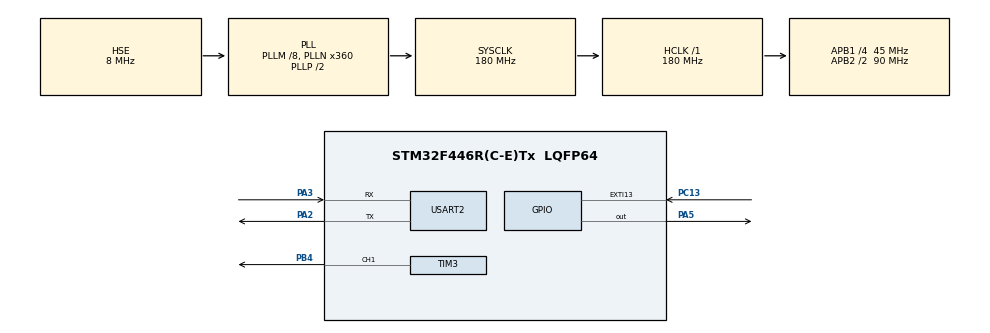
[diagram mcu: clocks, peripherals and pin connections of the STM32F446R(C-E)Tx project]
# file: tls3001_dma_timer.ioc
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Dma.Request0=TIM3_CH1/TRIG
Dma.TIM3_CH1/TRIG.0.Direction=DMA_MEMORY_TO_PERIPH
Dma.TIM3_CH1/TRIG.0.FIFOMode=DMA_FIFOMODE_DISABLE
Dma.TIM3_CH1/TRIG.0.Instance=DMA1_Stream4
Dma.TIM3_CH1/TRIG.0.MemDataAlignment=DMA_MDATAALIGN_WORD
Dma.TIM3_CH1/TRIG.0.MemInc=DMA_MINC_ENABLE
Dma.TIM3_CH1/TRIG.0.Mode=DMA_NORMAL
Dma.TIM3_CH1/TRIG.0.PeriphDataAlignment=DMA_PDATAALIGN_WORD
Dma.TIM3_CH1/TRIG.0.PeriphInc=DMA_PINC_DISABLE
Dma.TIM3_CH1/TRIG.0.Priority=DMA_PRIORITY_HIGH
Mcu.Family=STM32F4
Mcu.Name=STM32F446R(C-E)Tx
Mcu.Package=LQFP64
NVIC.DMA1_Stream4_IRQn=true\:0\:0\:false\:false\:true\:false\:true
NVIC.PriorityGroup=NVIC_PRIORITYGROUP_0
NVIC.TIM3_IRQn=true\:0\:0\:true\:false\:true\:true\:true
PA13.Mode=Serial_Wire
PA13.Signal=SYS_JTMS-SWDIO
PA14.Mode=Serial_Wire
PA14.Signal=SYS_JTCK-SWCLK
PA2.GPIO_Mode=GPIO_MODE_AF_PP
PA2.GPIO_PuPd=GPIO_PULLUP
PA2.GPIO_Speed=GPIO_SPEED_FREQ_VERY_HIGH
PA2.Mode=Asynchronous
PA2.Signal=USART2_TX
PA3.GPIO_Mode=GPIO_MODE_AF_PP
PA3.GPIO_PuPd=GPIO_PULLUP
PA3.GPIO_Speed=GPIO_SPEED_FREQ_VERY_HIGH
PA3.Mode=Asynchronous
PA3.Signal=USART2_RX
PA5.GPIO_ModeDefaultOutputPP=GPIO_MODE_OUTPUT_PP
PA5.GPIO_PuPd=GPIO_NOPULL
PA5.GPIO_Speed=GPIO_SPEED_FREQ_LOW
PA5.PinState=GPIO_PIN_RESET
PA5.Signal=GPIO_Output
PB3.Signal=SYS_JTDO-SWO
PB4.GPIO_PuPd=GPIO_PULLDOWN
PB4.GPIO_Speed=GPIO_SPEED_FREQ_HIGH
PB4.Signal=S_TIM3_CH1
PC13.GPIO_ModeDefaultEXTI=GPIO_MODE_IT_RISING
PC13.GPIO_PuPd=GPIO_NOPULL
PC13.Signal=GPXTI13
PC14-OSC32_IN.Mode=LSE-External-Oscillator
PC14-OSC32_IN.Signal=RCC_OSC32_IN
PC15-OSC32_OUT.Mode=LSE-External-Oscillator
PC15-OSC32_OUT.Signal=RCC_OSC32_OUT
PH0-OSC_IN.Mode=HSE-External-Oscillator
PH0-OSC_IN.Signal=RCC_OSC_IN
PH1-OSC_OUT.Mode=HSE-External-Oscillator
PH1-OSC_OUT.Signal=RCC_OSC_OUT
ProjectManager.HeapSize=0x200
ProjectManager.StackSize=0x400
ProjectManager.TargetToolchain=STM32CubeIDE
RCC.48MHZClocksFreq_Value=84000000
RCC.AHBFreq_Value=180000000
RCC.APB1CLKDivider=RCC_HCLK_DIV4
RCC.APB1Freq_Value=45000000
RCC.APB1TimFreq_Value=90000000
RCC.APB2CLKDivider=RCC_HCLK_DIV2
RCC.APB2Freq_Value=90000000
RCC.APB2TimFreq_Value=180000000
RCC.CortexFreq_Value=180000000
RCC.FLatency-AdvancedSettings=FLASH_LATENCY_5
RCC.HCLKFreq_Value=180000000
RCC.HSE_VALUE=8000000
RCC.HSI_VALUE=16000000
RCC.PLLM=8
RCC.PLLN=360
RCC.PLLSourceVirtual=RCC_PLLSOURCE_HSE
RCC.RCC_TIM_PRescaler_Selection=RCC_TIMPRES_DESACTIVATED
RCC.SYSCLKFreq_VALUE=180000000
RCC.SYSCLKSource=RCC_SYSCLKSOURCE_PLLCLK
RCC.USBFreq_Value=180000000
RCC.VCOOutputFreq_Value=360000000
SH.S_TIM3_CH1.0=TIM3_CH1,PWM Generation1 CH1
TIM3.AutoReloadPreload=TIM_AUTORELOAD_PRELOAD_DISABLE
TIM3.Channel-PWM\ Generation1\ CH1=TIM_CHANNEL_1
TIM3.OCFastMode_PWM-PWM\ Generation1\ CH1=TIM_OCFAST_ENABLE
TIM3.OCPolarity_1=TIM_OCPOLARITY_HIGH
TIM3.Period=179
TIM3.Prescaler=0
TIM3.Pulse-PWM\ Generation1\ CH1=89
USART2.VirtualMode=VM_ASYNC
board=NUCLEO-F446RE

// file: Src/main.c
/* USER CODE BEGIN Header */
/**
  ******************************************************************************
  * @file           : main.c
  * @brief          : Main program body
  ******************************************************************************
  * @attention
  *
  * <h2><center>&copy; Copyright (c) 2019 STMicroelectronics.
  * All rights reserved.</center></h2>
  *
  * This software component is licensed by ST under BSD 3-Clause license,
  * the "License"; You may not use this file except in compliance with the
  * License. You may obtain a copy of the License at:
  *                        opensource.org/licenses/BSD-3-Clause
  *
  ******************************************************************************
  */
/* USER CODE END Header */

#include "main.h"
#include "dma.h"
#include "tim.h"
#include "usart.h"
#include "gpio.h"

/* USER CODE BEGIN Includes */
#include "stdlib.h"
#include "TLS3001.h"
#include "stdbool.h"
/* USER CODE END Includes */

/* USER CODE BEGIN PV */
uint32_t uwTimerPeriod;
uint32_t aCCValue;

uint32_t *OCxM_DMA_buffer;
volatile bool TLS3001_PWM_transfer_finish = false;

#define TLS3001_RESET_LEN 19
#define TLS3001_SYNC_LEN 30
#define TLS3001_START_LEN 19

const uint16_t TLS3001_RESET [TLS3001_RESET_LEN] = {1,1,1,1,1,1,1,1,1,1,1,1,1,1,1,0,1,0,0};						// RESET = 1,1,1,1, 1,1,1,1, 1,1,1,1, 1,1,1,0,  1,0,0
const uint16_t TLS3001_SYNC [TLS3001_SYNC_LEN] = {1,1,1,1,1,1,1,1, 1,1,1,1,1,1,1,0,0,0,1,0,0,0,0,0,0,0,0,0,0,0};	// SYNC_ = 1,1,1,1, 1,1,1,1, 1,1,1,1, 1,1,1,0,  0,0,1,0, 0,0,0,0, 0,0,0,0, 0,0
const uint16_t TLS3001_START [TLS3001_START_LEN] = {1,1,1,1,1,1,1,1,1,1,1,1,1,1,1,0,0,1,0};						// START = 1,1,1,1, 1,1,1,1, 1,1,1,1, 1,1,1,0, 0,1,0

/* USER CODE END PV */

void SystemClock_Config(void);
/* USER CODE BEGIN PFP */

void user_init_DMA_buffer(uint32_t **DMA_buffer, uint16_t *data_in_buffer, uint32_t data_len);
void user_deinit_DMA_buffer(uint32_t *DMA_buffer);
void user_PWM_start(TIM_HandleTypeDef *htim, uint32_t Channel);
void TLS3001_send_packet(uint32_t SrcAddress, uint32_t DstAddress, uint32_t DataLength);

/* USER CODE END PFP */

int main(void)
{
  /* USER CODE BEGIN 1 */
	const uint32_t data_in_len = 10;
	uint16_t data_in_buffer [10] = {1, 1, 0, 0, 1, 1, 1, 0, 0, 0};
  /* USER CODE END 1 */

  /* MCU Configuration--------------------------------------------------------*/

  /* Reset of all peripherals, Initializes the Flash interface and the Systick. */
  HAL_Init();

  /* Configure the system clock */
  SystemClock_Config();

  /* USER CODE BEGIN SysInit */

  uint32_t PCLK1_freq=HAL_RCC_GetPCLK1Freq();
  uwTimerPeriod = (uint32_t)(((PCLK1_freq*2) / TLS3001_CLK) - 1);
  /* Compute CCR2 value to generate a duty cycle at 50% */
  aCCValue = (uint32_t)(((uint32_t) 50 * (uwTimerPeriod - 1)) / 100);
  /* USER CODE END SysInit */

  /* Initialize all configured peripherals */
  MX_GPIO_Init();
  MX_DMA_Init();
  MX_USART2_UART_Init();
  MX_TIM3_Init();
  /* USER CODE BEGIN 2 */

  // Send reset
  user_init_DMA_buffer(&OCxM_DMA_buffer, &data_in_buffer[0], data_in_len);
  TLS3001_send_packet(OCxM_DMA_buffer, &htim3.Instance->CCMR1, data_in_len);

  while(TLS3001_PWM_transfer_finish == false){
  }

  HAL_Delay(1);	//1ms delay.

  // Send Synch
  user_init_DMA_buffer(&OCxM_DMA_buffer, &TLS3001_SYNC[0], TLS3001_SYNC_LEN);
  TLS3001_send_packet(OCxM_DMA_buffer, &htim3.Instance->CCMR1, TLS3001_SYNC_LEN);

  while(TLS3001_PWM_transfer_finish == false){
  }

  HAL_Delay(50);	//50ms delay.

  /*
  // Enable the DMA stream
  if (HAL_DMA_Start_IT(&hdma_tim3_ch1_trig, OCxM_DMA_buffer, &htim3.Instance->CCMR1, data_in_len) != HAL_OK)
  {
	 return HAL_ERROR;
  }
  // Enable the TIM3 Update event DMA request
  __HAL_TIM_ENABLE_DMA(&htim3, TIM_DMA_CC1);
  HAL_TIM_GenerateEvent(&htim3, TIM_EGR_CC1G);

  HAL_Delay(10);

  HAL_GPIO_TogglePin(GPIOA, GPIO_PIN_5);
  user_PWM_start(&htim3, TIM_CHANNEL_1);
*/
  /* USER CODE END 2 */

  /* Infinite loop */
  /* USER CODE BEGIN WHILE */
  while (1)
  {
	  /*
	  if((htim3.Instance->CR1 & TIM_CR1_CEN) == 0)
	  {
		  user_PWM_start(&htim3, TIM_CHANNEL_1);
	  }

	  if(TLS3001_PWM_transfer_finish == true)
	  {

		  HAL_TIM_PWM_Stop(&htim3, TIM_CHANNEL_1);	//This is not good since we stop the PWM (disabling the output) too soon.
		  HAL_GPIO_WritePin(GPIOB, GPIO_PIN_4, GPIO_PIN_RESET);
		//uint16_t temp = (~TIM_CCMR1_OC1M_Msk | TIM_OCMODE_FORCED_INACTIVE);
		//TIM3->CCMR1 &= temp;
		  TLS3001_PWM_transfer_finish = false;
	  }
	  */

	  HAL_Delay(10);

    /* USER CODE END WHILE */

  }
}

void SystemClock_Config(void)
{
  RCC_OscInitTypeDef RCC_OscInitStruct = {0};
  RCC_ClkInitTypeDef RCC_ClkInitStruct = {0};

  /** Configure the main internal regulator output voltage
  */
  __HAL_RCC_PWR_CLK_ENABLE();
  __HAL_PWR_VOLTAGESCALING_CONFIG(PWR_REGULATOR_VOLTAGE_SCALE1);
  /** Initializes the CPU, AHB and APB busses clocks
  */
  RCC_OscInitStruct.OscillatorType = RCC_OSCILLATORTYPE_HSE;
  RCC_OscInitStruct.HSEState = RCC_HSE_ON;
  RCC_OscInitStruct.PLL.PLLState = RCC_PLL_ON;
  RCC_OscInitStruct.PLL.PLLSource = RCC_PLLSOURCE_HSE;
  RCC_OscInitStruct.PLL.PLLM = 8;
  RCC_OscInitStruct.PLL.PLLN = 360;
  RCC_OscInitStruct.PLL.PLLP = RCC_PLLP_DIV2;
  RCC_OscInitStruct.PLL.PLLQ = 2;
  RCC_OscInitStruct.PLL.PLLR = 2;
  if (HAL_RCC_OscConfig(&RCC_OscInitStruct) != HAL_OK)
  {
    Error_Handler();
  }
  /** Activate the Over-Drive mode
  */
  if (HAL_PWREx_EnableOverDrive() != HAL_OK)
  {
    Error_Handler();
  }
  /** Initializes the CPU, AHB and APB busses clocks
  */
  RCC_ClkInitStruct.ClockType = RCC_CLOCKTYPE_HCLK|RCC_CLOCKTYPE_SYSCLK
                              |RCC_CLOCKTYPE_PCLK1|RCC_CLOCKTYPE_PCLK2;
  RCC_ClkInitStruct.SYSCLKSource = RCC_SYSCLKSOURCE_PLLCLK;
  RCC_ClkInitStruct.AHBCLKDivider = RCC_SYSCLK_DIV1;
  RCC_ClkInitStruct.APB1CLKDivider = RCC_HCLK_DIV4;
  RCC_ClkInitStruct.APB2CLKDivider = RCC_HCLK_DIV2;

  if (HAL_RCC_ClockConfig(&RCC_ClkInitStruct, FLASH_LATENCY_5) != HAL_OK)
  {
    Error_Handler();
  }
}

/* USER CODE BEGIN 4 */

void TLS3001_send_packet(uint32_t SrcAddress, uint32_t DstAddress, uint32_t DataLength)
{
	  // Enable the DMA stream
	  if (HAL_DMA_Start_IT(&hdma_tim3_ch1_trig, SrcAddress, DstAddress, DataLength) != HAL_OK)
	  {
		 return HAL_ERROR;
	  }
	  // Enable the TIM3 Update event DMA request
	  __HAL_TIM_ENABLE_DMA(&htim3, TIM_DMA_CC1);
	  HAL_TIM_GenerateEvent(&htim3, TIM_EGR_CC1G);

	  HAL_Delay(10);

	  HAL_GPIO_TogglePin(GPIOA, GPIO_PIN_5);
	  user_PWM_start(&htim3, TIM_CHANNEL_1);

	  TLS3001_PWM_transfer_finish = false;
}

void HAL_TIM_PWM_PulseFinishedCallback(TIM_HandleTypeDef *htim)
{

	// Stop the counter
	//htim->Instance->CR1 &= ~(TIM_CR1_CEN);
	//

	//Alternative to above
	//Wait for the period to finish prior to disabling the
	HAL_GPIO_TogglePin(GPIOA, GPIO_PIN_5);
	while(TIM3->CNT < TIM3->ARR){
	}

	uint16_t temp = (~TIM_CCMR1_OC1M_Msk | TIM_OCMODE_FORCED_INACTIVE);
	TIM3->CCMR1 &= temp;
	HAL_TIM_PWM_Stop(htim, TIM_CHANNEL_1);

	TLS3001_PWM_transfer_finish = true;

}

void user_init_DMA_buffer(uint32_t **DMA_buffer, uint16_t *data_in_buffer, uint32_t data_len)
{
	  uint32_t tim_3_ccmr1_manch_0 = 0;
	  uint32_t tim_3_ccmr1_manch_1 = 0;

	  *DMA_buffer = (uint32_t *)calloc(data_len, sizeof(uint32_t));

	  /* Get the TIMx CCMR2 register value */
	  uint16_t tmpccmr1 = TIM3->CCMR1;
	  tim_3_ccmr1_manch_1 = (tmpccmr1 | TIM_OCMODE_PWM1);
	  tim_3_ccmr1_manch_0 = (tmpccmr1 | TIM_OCMODE_PWM2);

	  for (int i = 0; i < data_len; i++)
	  {
		  if(*(data_in_buffer+i) == 1)		//Manchester '1'
		  {
			  *(*DMA_buffer+i) = tim_3_ccmr1_manch_1;
		  }
		  else								//Manchester '0'
		  {
			  *(*DMA_buffer+i) = tim_3_ccmr1_manch_0;
		  }

	  }
}

// Function for faster start of PWM (had some delay issues with first pulse)
void user_PWM_start(TIM_HandleTypeDef *htim, uint32_t Channel)
{
	  /* Enable the Capture compare channel */
	  uint32_t tmp = TIM_CCER_CC1E << (Channel & 0x1FU); /* 0x1FU = 31 bits max shift */
	  /* Reset the CCxE Bit */
	  TIM3->CCER &= ~tmp;
	  /* Set or reset the CCxE Bit */
	  TIM3->CCER |= (uint32_t)(TIM_CCx_ENABLE << (Channel & 0x1FU)); /* 0x1FU = 31 bits max shift */

	  __HAL_TIM_ENABLE(htim);
}

void user_deinit_DMA_buffer(uint32_t *DMA_buffer)
{
	free(DMA_buffer);
}

/* USER CODE END 4 */

void Error_Handler(void)
{
}

/************************ (C) COPYRIGHT STMicroelectronics *****END OF FILE****/
